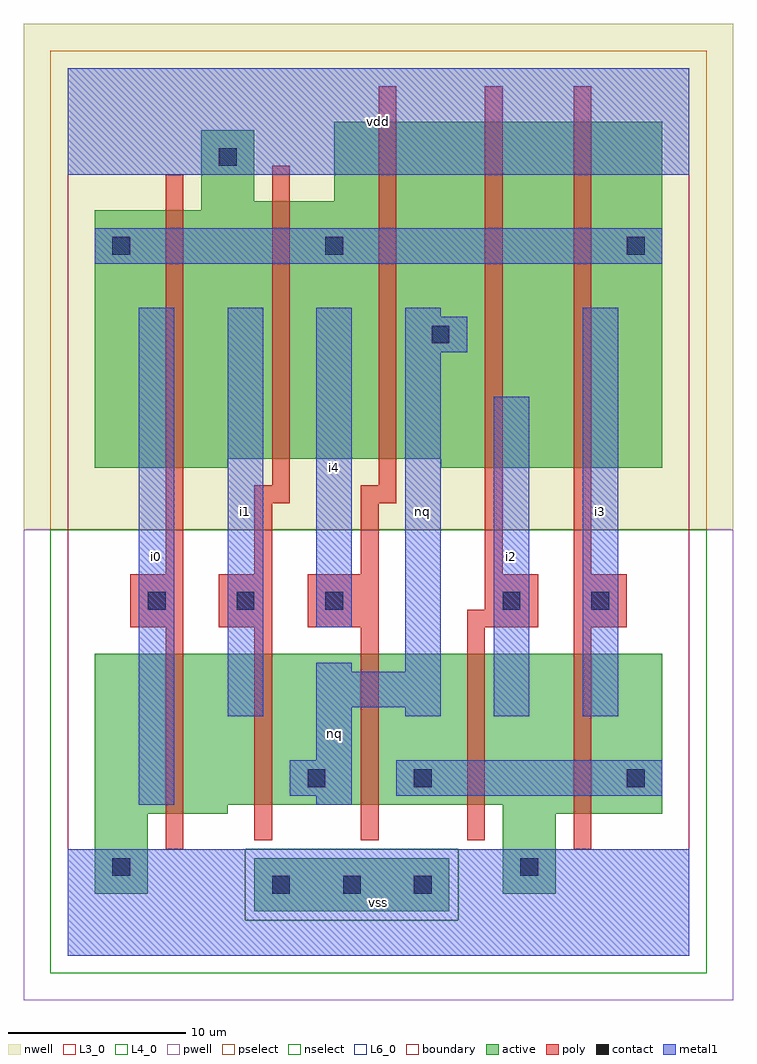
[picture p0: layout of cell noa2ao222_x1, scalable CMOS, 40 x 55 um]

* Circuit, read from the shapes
.subckt noa2ao222_x1 i0 i1 i2 i3 i4 nq vdd vss
M1 n1 i0 vss vss nfet w=9u l=1u
M2 nq i1 n1 vss nfet w=8.5u l=1u
M3 n2 i4 nq vss nfet w=8.5u l=1u
M4 vss i2 n2 vss nfet w=8.5u l=1u
M5 n2 i3 vss vss nfet w=9u l=1u
M6 vdd i0 n3 n4 pfet w=14.5u l=1u
M7 n3 i1 vdd n4 pfet w=14.5u l=1u
M8 nq i4 n3 n4 pfet w=19u l=1u
M9 n5 i2 nq n4 pfet w=19.5u l=1u
M10 n3 i3 n5 n4 pfet w=19.5u l=1u
.ends

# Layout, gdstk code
import gdstk
lib = gdstk.Library(unit=1e-6, precision=1e-09)
def R(c, l, rs):  # rectangles x0, y0, x1, y1
    for r in rs: c.add(gdstk.rectangle(r[:2], r[2:], *l))
def A(c, l, x, y, w, h, nx, ny, dx, dy):  # array of equal rectangles
    R(c, l, [(x+i*dx, y+j*dy, x+i*dx+w, y+j*dy+h) for i in range(nx) for j in range(ny)])
L3_0 = (3, 0)
L4_0 = (4, 0)
L6_0 = (6, 0)
contact = (25, 0)
pwell = (41, 0)
nwell = (42, 0)
active = (43, 0)
pselect = (44, 0)
nselect = (45, 0)
poly = (46, 0)
metal1 = (49, 0)
boundary = (63, 0)

noa2ao222_x1 = lib.new_cell('noa2ao222_x1')
R(noa2ao222_x1, L3_0, [(1.5,3.5,4.5,8), (24.5,3.5,27.5,8), (1.5,8,9,8.5), (24.5,8,33.5,8.5), (1.5,8.5,33.5,17)])
R(noa2ao222_x1, L4_0, [(1.5,27.5,9,28), (21,27.5,33.5,28), (1.5,28,33.5,42), (7.5,42,33.5,42.5), (7.5,42.5,10.5,46.5), (15,42.5,33.5,47)])
R(noa2ao222_x1, L6_0, [(10.5,2.5,21.5,5.5)])
A(noa2ao222_x1, contact, 11.5, 3.5, 1, 1, 3, 1, 4, 0)
A(noa2ao222_x1, contact, 4.5, 19.5, 1, 1, 3, 1, 5, 0)
R(noa2ao222_x1, contact, [(2.5,4.5,3.5,5.5), (25.5,4.5,26.5,5.5), (13.5,9.5,14.5,10.5), (19.5,9.5,20.5,10.5), (31.5,9.5,32.5,10.5), (24.5,19.5,25.5,20.5), (29.5,19.5,30.5,20.5), (20.5,34.5,21.5,35.5), (2.5,39.5,3.5,40.5), (14.5,39.5,15.5,40.5), (31.5,39.5,32.5,40.5), (8.5,44.5,9.5,45.5)])
R(noa2ao222_x1, pwell, [(-2.5,-2.5,37.5,24)])
R(noa2ao222_x1, nwell, [(-2.5,24,37.5,52.5)])
R(noa2ao222_x1, active, [(10.5,2.5,21.5,5.5), (1.5,3.5,4.5,8), (24.5,3.5,27.5,8), (1.5,8,9,8.5), (24.5,8,33.5,8.5), (1.5,8.5,33.5,17), (1.5,27.5,9,28), (21,27.5,33.5,28), (1.5,28,33.5,42), (7.5,42,33.5,42.5), (7.5,42.5,10.5,46.5), (15,42.5,33.5,47)])
R(noa2ao222_x1, pselect, [(10,2,22,6), (-1,24,36,51)])
R(noa2ao222_x1, nselect, [(-1,-1,36,2), (-1,2,10,6), (22,2,36,6), (-1,6,36,24)])
A(noa2ao222_x1, poly, 10.5, 6.5, 1, 12, 3, 1, 6, 0)
R(noa2ao222_x1, poly, [(5.5,6,6.5,18.5), (28.5,6,29.5,18.5), (3.5,18.5,6.5,21.5), (8.5,18.5,11.5,21.5), (13.5,18.5,17.5,21.5), (22.5,18.5,26.5,19.5), (28.5,18.5,31.5,21.5), (23.5,19.5,26.5,21.5), (5.5,21.5,6.5,44), (10.5,21.5,11.5,25.5), (16.5,21.5,17.5,25.5), (23.5,21.5,24.5,49), (28.5,21.5,29.5,49), (10.5,25.5,12.5,26.5), (16.5,25.5,18.5,26.5), (11.5,26.5,12.5,44.5), (17.5,26.5,18.5,49)])
R(noa2ao222_x1, metal1, [(0,0,35,6), (0,0,35,6), (4,8.5,6,36.5), (4,8.5,6,36.5), (14,8.5,16,9), (14,8.5,16,9), (12.5,9,16,11), (12.5,9,16,11), (18.5,9,33.5,11), (18.5,9,33.5,11), (14,11,16,14), (14,11,16,14), (9,13.5,11,36.5), (9,13.5,11,36.5), (19,13.5,21,14), (19,13.5,21,14), (24,13.5,26,31.5), (24,13.5,26,31.5), (29,13.5,31,36.5), (29,13.5,31,36.5), (14,14,21,16), (14,14,21,16), (14,16,16,16.5), (14,16,16,16.5), (19,16,21,34), (19,16,21,34), (14,18.5,16,36.5), (14,18.5,16,36.5), (19,34,22.5,36), (19,34,22.5,36), (19,36,21,36.5), (19,36,21,36.5), (1.5,39,33.5,41), (1.5,39,33.5,41), (0,44,35,50), (0,44,35,50)])
R(noa2ao222_x1, boundary, [(0,0,35,50)])
noa2ao222_x1.add(gdstk.Label('i0', (5,22.5), layer=49, texttype=0))
noa2ao222_x1.add(gdstk.Label('nq', (15,12.5), layer=49, texttype=0))
noa2ao222_x1.add(gdstk.Label('i1', (10,25), layer=49, texttype=0))
noa2ao222_x1.add(gdstk.Label('i4', (15,27.5), layer=49, texttype=0))
noa2ao222_x1.add(gdstk.Label('vss', (17.5,3), layer=49, texttype=0))
noa2ao222_x1.add(gdstk.Label('i2', (25,22.5), layer=49, texttype=0))
noa2ao222_x1.add(gdstk.Label('nq', (20,25), layer=49, texttype=0))
noa2ao222_x1.add(gdstk.Label('vdd', (17.5,47), layer=49, texttype=0))
noa2ao222_x1.add(gdstk.Label('i3', (30,25), layer=49, texttype=0))

lib.write_gds('noa2ao222_x1.gds')
